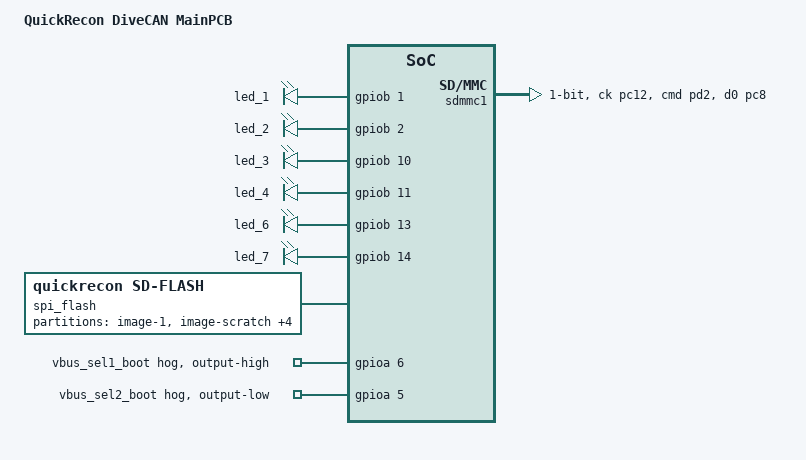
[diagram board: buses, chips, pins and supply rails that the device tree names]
/*
 * QuickRecon DiveCAN MainPCB.
 *
 * The MainPCB shares the STM32L431, clocking, CAN, cell interfaces, ADCs and
 * internal OTA layout with DiveCAN Jr.  The board-specific differences below
 * replace SPI NOR with the native 1-bit SDMMC socket, describe the Rev2 power
 * mux, and correct the LEDs, solenoid output and hardware-version pattern.
 */
#include "../divecan_jr/divecan_jr.dts"

/* Remove Jr's SPI-NOR node and its fixed partitions before reusing the same
 * labels for MainPCB's raw SD flash device. */
/delete-node/ &spi_flash;

/ {
    model = "QuickRecon DiveCAN MainPCB";
    compatible = "quickrecon,divecan-main";

    leds {
        led_1: led_1 {
            gpios = <&gpiob 1 GPIO_ACTIVE_HIGH>;
        };
        led_2: led_2 {
            gpios = <&gpiob 2 GPIO_ACTIVE_HIGH>;
        };
        led_3: led_3 {
            gpios = <&gpiob 10 GPIO_ACTIVE_HIGH>;
        };
        led_4: led_4 {
            gpios = <&gpiob 11 GPIO_ACTIVE_HIGH>;
        };
        led_6: led_6 {
            gpios = <&gpiob 13 GPIO_ACTIVE_HIGH>;
        };
        led_7: led_7 {
            gpios = <&gpiob 14 GPIO_ACTIVE_HIGH>;
        };
    };

    /* The first 64 MiB of the SD card is firmware-owned raw storage.  Keeping
     * the existing partition labels and offsets means OTA, factory restore,
     * flash logging and NVS continue to use flash_area without a filesystem. */
    spi_flash: sd-flash {
        compatible = "quickrecon,sd-flash";
        disk-name = "SD";
        size = <DT_SIZE_M(64)>;
        erase-block-size = <4096>;
        write-block-size = <8>;
        status = "okay";

        partitions {
            compatible = "fixed-partitions";
            #address-cells = <1>;
            #size-cells = <1>;

            slot1_partition: partition@0 {
                label = "image-1";
                reg = <0x00000000 DT_SIZE_K(220)>;
            };
            scratch_partition: partition@37000 {
                label = "image-scratch";
                reg = <0x00037000 DT_SIZE_K(64)>;
            };
            factory_partition: partition@47000 {
                label = "factory-image";
                reg = <0x00047000 DT_SIZE_K(220)>;
            };
            log_telemetry_partition: partition@80000 {
                label = "log-telemetry";
                reg = <0x00080000 DT_SIZE_M(48)>;
            };
            log_text_partition: partition@3080000 {
                label = "log-text";
                reg = <0x03080000 DT_SIZE_M(8)>;
            };
            storage_partition: partition@3ff8000 {
                label = "storage";
                reg = <0x03ff8000 DT_SIZE_K(32)>;
            };
        };
    };
};

/* The included Jr definition places a W25Q512 under SPI2.  Those pins are
 * LEDs on MainPCB, so remove the child entirely before disabling the bus. */
&spi2 {
    status = "disabled";
};

/* MainPCB SD socket: PC12=CK, PD2=CMD, PC8=DAT0, PC6=active-low detect. */
&sdmmc1 {
    pinctrl-0 = <&sdmmc1_ck_pc12 &sdmmc1_cmd_pd2 &sdmmc1_d0_pc8>;
    pinctrl-names = "default";
    disk-name = "SD";
    bus-width = <1>;
    cd-gpios = <&gpioc 6 GPIO_ACTIVE_LOW>;
    status = "okay";
};

/* SDMMC1 uses HSI48 as its domain clock on STM32L431. */
&clk_hsi48 {
    status = "okay";
};

/* GPIO hogs are standard Zephyr board initialisation, not a storage or power
 * driver.  They make VBUS available before the SD disk initialises at priority
 * 90.  The application power driver subsequently owns and may reconfigure the
 * same pins according to CONFIG_POWER_MODE_* and drives 11 on shutdown. */
&gpioa {
    vbus_sel1_boot: vbus-sel1-boot {
        gpio-hog;
        gpios = <6 GPIO_ACTIVE_HIGH>;
        output-high;
    };

    vbus_sel2_boot: vbus-sel2-boot {
        gpio-hog;
        gpios = <5 GPIO_ACTIVE_HIGH>;
        output-low;
    };
};

/* Rev2.3/2.4: VER_DET_1 grounded, VER_DET_2/3 floating. */
&hw_version {
    expected-pattern = <0 2 2>;
};

/* MainPCB has one solenoid drive input on PC1.  PB4, PC11, PB5 and PA7 are
 * source-disable/status signals on this board rather than solenoid channels. */
&solenoids {
    gpios = <&gpioc 1 GPIO_ACTIVE_HIGH>;
};

/* VBUS is the output of the dual-source mux rather than PA1 directly. */
&vbus_reg {
    /delete-property/ enable-gpios;
    regulator-always-on;
};

&power {
    /delete-property/ vcc-sense;
    bus-select-gpios = <&gpioa 6 GPIO_ACTIVE_HIGH>,
                       <&gpioa 5 GPIO_ACTIVE_HIGH>;
    battery-enable-gpios = <&gpioa 1 GPIO_ACTIVE_LOW>;
    vcc-source-gpios = <&gpioa 4 GPIO_ACTIVE_HIGH>;
    vbus-source-gpios = <&gpioa 7 GPIO_ACTIVE_HIGH>;
    vbus-sense-io-channels = <&adc1 5>;
    vbus-divider-ratio = <11000>;
    can-sense-io-channels = <&adc1 3>;
    can-divider-ratio = <11000>;
};

/* MainPCB has dedicated VBUS/CAN ADC channels; the Jr VBAT sensor does not
 * represent either rail on this power topology. */
&vbat {
    status = "disabled";
};
